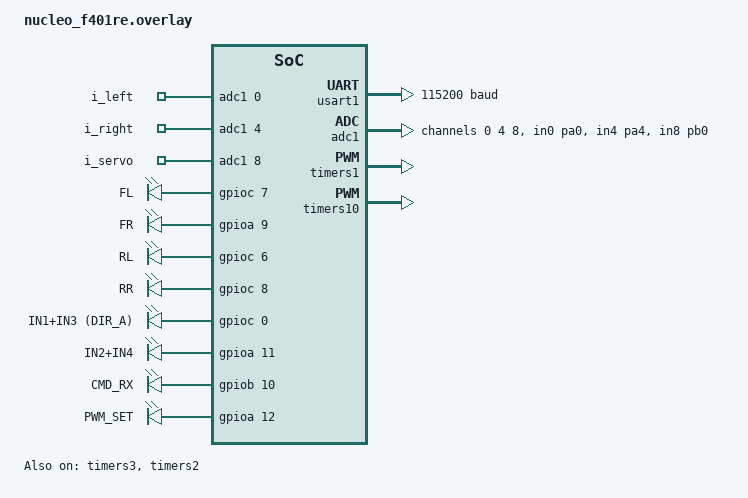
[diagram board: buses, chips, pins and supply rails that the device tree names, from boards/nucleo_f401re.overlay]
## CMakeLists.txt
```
cmake_minimum_required(VERSION 3.20.0)
find_package(Zephyr REQUIRED HINTS $ENV{ZEPHYR_BASE})
project(car_app)

target_sources(app PRIVATE
    src/main.c
    src/link.c
    src/control.c
    src/blinkers.c
    src/current.c
)
```

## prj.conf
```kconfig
# Drivers
CONFIG_GPIO=y
CONFIG_ADC=y
CONFIG_PWM=y
CONFIG_SENSOR=y
CONFIG_SERIAL=y
CONFIG_UART_INTERRUPT_DRIVEN=y

# Floating point: hardware FPU, and save FP registers when a thread
# using floats is preempted by another thread that also uses floats.
CONFIG_FPU=y
CONFIG_FPU_SHARING=y
```

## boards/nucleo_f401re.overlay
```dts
/*
 * car_app - Nucleo-F401RE, full system
 *
 * Link:     USART1  PB6 TX / PB7 RX  (to Pi)
 * Encoders: TIM3 QDEC PB4/PB5,  TIM2 QDEC PA5/PA1
 * Motor:    TIM1_CH3 PA10 -> ENA+ENB (PWM),  PC0 -> IN1+IN3,  PA11 -> IN2+IN4
 * Servo:    TIM10_CH1 PB8, 50 Hz
 * Blinkers: FL PC7, FR PA9, RL PC6, RR PC8
 * Test pts: CMD_RX PB10, PWM_SET PA12
 * Current:  PA0 ADC1_IN0 left motor, PA4 ADC1_IN4 right motor, PB0 ADC1_IN8 servo
 *           (ACS712 outputs through 47k/47k dividers)
 */

#include <zephyr/dt-bindings/adc/adc.h>

/ {
    chosen {
        zephyr,uart-comms = &usart1;
    };

    zephyr,user {
        io-channels = <&adc1 0>, <&adc1 4>, <&adc1 8>;
        io-channel-names = "i_left", "i_right", "i_servo";
    };

    /* All plain GPIO outputs. gpio-leds is used as a generic
     * "named GPIO output" binding; no LED driver is enabled. */
    gpio_outputs {
        compatible = "gpio-leds";

        blinker_fl: blinker_fl { gpios = <&gpioc 7 GPIO_ACTIVE_HIGH>;  label = "FL"; };
        blinker_fr: blinker_fr { gpios = <&gpioa 9 GPIO_ACTIVE_HIGH>;  label = "FR"; };
        blinker_rl: blinker_rl { gpios = <&gpioc 6 GPIO_ACTIVE_HIGH>;  label = "RL"; };
        blinker_rr: blinker_rr { gpios = <&gpioc 8 GPIO_ACTIVE_HIGH>;  label = "RR"; };

        motor_in1:  motor_in1  { gpios = <&gpioc 0 GPIO_ACTIVE_HIGH>;  label = "IN1+IN3 (DIR_A)"; };
        motor_in2:  motor_in2  { gpios = <&gpioa 11 GPIO_ACTIVE_HIGH>; label = "IN2+IN4"; };

        tp_cmd_rx:  tp_cmd_rx  { gpios = <&gpiob 10 GPIO_ACTIVE_HIGH>; label = "CMD_RX"; };
        tp_pwm_set: tp_pwm_set { gpios = <&gpioa 12 GPIO_ACTIVE_HIGH>; label = "PWM_SET"; };
    };

    /* Board LED PWM runs TIM2 on PA5; TIM2 is needed for encoder 2. */
    pwmleds {
        status = "disabled";
    };
};

/* Board defaults that claim pins this app needs */
&spi1  { status = "disabled"; };   /* PA5 */
&i2c1  { status = "disabled"; };   /* PB8 */
&pwm2  { status = "disabled"; };   /* TIM2 */

&usart1 {
    status = "okay";
    current-speed = <115200>;
};

&adc1 {
    #address-cells = <1>;
    #size-cells = <0>;
    pinctrl-0 = <&adc1_in0_pa0 &adc1_in4_pa4 &adc1_in8_pb0>;
    pinctrl-names = "default";
    status = "okay";

    channel@0 {
        reg = <0>;
        zephyr,gain = "ADC_GAIN_1";
        zephyr,reference = "ADC_REF_INTERNAL";
        zephyr,acquisition-time = <ADC_ACQ_TIME_MAX>;
        zephyr,resolution = <12>;
    };

    channel@4 {
        reg = <4>;
        zephyr,gain = "ADC_GAIN_1";
        zephyr,reference = "ADC_REF_INTERNAL";
        zephyr,acquisition-time = <ADC_ACQ_TIME_MAX>;
        zephyr,resolution = <12>;
    };

    channel@8 {
        reg = <8>;
        zephyr,gain = "ADC_GAIN_1";
        zephyr,reference = "ADC_REF_INTERNAL";
        zephyr,acquisition-time = <ADC_ACQ_TIME_MAX>;
        zephyr,resolution = <12>;
    };
};

&timers3 {
    status = "okay";
    qdec: qdec {
        compatible = "st,stm32-qdec";
        status = "okay";
        pinctrl-0 = <&tim3_ch1_pb4 &tim3_ch2_pb5>;
        pinctrl-names = "default";
        st,counts-per-revolution = <660>;
    };
};

&timers2 {
    status = "okay";
    qdec2: qdec2 {
        compatible = "st,stm32-qdec";
        status = "okay";
        pinctrl-0 = <&tim2_ch1_pa5 &tim2_ch2_pa1>;
        pinctrl-names = "default";
        st,counts-per-revolution = <660>;
    };
};

&timers1 {
    status = "okay";
    pwm1: pwm {
        status = "okay";
        pinctrl-0 = <&tim1_ch3_pa10>;
        pinctrl-names = "default";
    };
};

&timers10 {
    status = "okay";
    st,prescaler = <83>;          /* 84 MHz / 84 = 1 MHz tick, 20 ms = 20000 */
    pwm10: pwm {
        status = "okay";
        pinctrl-0 = <&tim10_ch1_pb8>;
        pinctrl-names = "default";
    };
};
```

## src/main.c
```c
/*
 * car_app - Lab 2 integrated firmware (Nucleo-F401RE, Zephyr)
 *
 * Laptop proxy -> UDP -> Pi -> UART (USART1) -> this board -> motors,
 * servo, blinkers. Status heartbeat goes back to the Pi every 20 ms.
 *
 * Modules:
 *   link.c      RX parser ISR, status TX thread
 *   control.c   fault state, brake, PI speed control, servo (control thread)
 *   blinkers.c  turn signals, self-cancel, hazards (blinker thread + timer ISR)
 *   main.c      init, then the low-priority console monitor
 *
 * Priorities, periods and deadlines: see config.h.
 */

#include <zephyr/kernel.h>

#include "config.h"
#include "link.h"
#include "link_proto.h"
#include "control.h"
#include "blinkers.h"
#include "current.h"

static void print_faults(uint8_t f)
{
    if (f == 0) {
        printk("none");
        return;
    }
    if (f & ST_FAULT_POWERUP)  { printk("POWERUP "); }
    if (f & ST_FAULT_LINK)     { printk("LINK "); }
    if (f & ST_FAULT_BADCMD)   { printk("BADCMD "); }
    if (f & ST_FAULT_SELFTEST) { printk("SELFTEST "); }
}

int main(void)
{
    /* Actuators first, so the board is braked and hazards are on
     * before any command can arrive. */
    if (control_init() != 0 || blinkers_init() != 0 || current_init() != 0 ||
        link_init() != 0) {
        printk("ERROR: init failed\n");
        return 0;
    }

    k_thread_priority_set(k_current_get(), PRIO_MONITOR);
    printk("car_app running\n");

    /* Monitor: lowest priority, console only. All printing lives here so
     * it can never delay the time-critical threads. */
    uint8_t last_faults = 0xFF;
    uint8_t last_buttons = 0;
    int64_t next_print = 0;

    while (1) {
        uint8_t faults = control_get_faults();
        int64_t now = k_uptime_get();

        /* Button levels as received from the Pi, so presses are visible */
        struct link_cmd bc;
        link_get_command(&bc);
        uint8_t buttons = bc.flags & (CMD_FLAG_LEFT | CMD_FLAG_RIGHT | CMD_FLAG_TEST);
        if (buttons != last_buttons) {
            printk("[%u ms] buttons: left=%d right=%d test=%d\n", (uint32_t)now,
                   (buttons & CMD_FLAG_LEFT) != 0, (buttons & CMD_FLAG_RIGHT) != 0,
                   (buttons & CMD_FLAG_TEST) != 0);
            last_buttons = buttons;
        }

        if (faults != last_faults) {
            printk("[%u ms] state %s, faults: ", (uint32_t)now,
                   faults ? "ERROR" : "NORMAL");
            print_faults(faults);
            printk("\n");
            last_faults = faults;
        }

        if (now >= next_print) {
            next_print = now + MONITOR_PERIOD_MS;

            struct link_cmd cmd;
            struct control_telemetry t;
            struct current_readings cur;
            link_get_command(&cmd);
            control_get_telemetry(&t);
            current_get(&cur);

            printk("steer=%d thr=%u brk=%u flags=0x%02x | "
                   "target=%d rpm=%d duty=%d%%%s | I=%u/%u/%u mA%s | turn=%s | bad=%u\n",
                   cmd.steer, cmd.thr, cmd.brk, cmd.flags,
                   t.target_x10 / 10, t.rpm_x10 / 10, t.duty_pct,
                   t.braking ? " BRAKE" : "",
                   cur.left_ma, cur.right_ma, cur.servo_ma,
                   current_is_valid() ? "" : " (no zero)",
                   blinkers_turn_name(), link_bad_frames());
        }

        k_msleep(50);
    }

    return 0;
}
```

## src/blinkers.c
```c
/*
 * blinkers.c - turn signals and hazards
 *
 * Two pieces, deliberately separate:
 *   blink output  - periodic k_timer ISR, 250 ms. Only reads the pattern
 *                   and writes pins, so timing is set by the timer, not by
 *                   when a thread gets to run. 1 Hz turn, 2 Hz hazard, 50%.
 *   blinker logic - low-priority thread, 20 ms. Button edges, self-cancel,
 *                   hazard selection. Its 100 ms budget is far looser than
 *                   the control thread's 2 ms, hence the lower priority.
 *
 * Turn signal rules:
 *   - A press on the left or right button (debounced) selects that side;
 *     one side cancels the other; pressing the active side again turns it off.
 *   - Self-cancel: once the wheel turns past TURN_THRESHOLD toward the active
 *     side (armed), returning back past (TURN_THRESHOLD - TURN_HYSTERESIS)
 *     cancels the signal.
 *   - Error state: hazards override the display. The turn state is kept
 *     underneath and reappears when the error clears.
 */

#include <zephyr/kernel.h>
#include <zephyr/drivers/gpio.h>
#include <zephyr/sys/atomic.h>

#include "blinkers.h"
#include "link.h"
#include "link_proto.h"
#include "control.h"
#include "config.h"

static const struct gpio_dt_spec led_fl = GPIO_DT_SPEC_GET(DT_NODELABEL(blinker_fl), gpios);
static const struct gpio_dt_spec led_fr = GPIO_DT_SPEC_GET(DT_NODELABEL(blinker_fr), gpios);
static const struct gpio_dt_spec led_rl = GPIO_DT_SPEC_GET(DT_NODELABEL(blinker_rl), gpios);
static const struct gpio_dt_spec led_rr = GPIO_DT_SPEC_GET(DT_NODELABEL(blinker_rr), gpios);

/* Steering thresholds in wheel units, as fractions of the chassis full lock
 * (STEER_FULL_SCALE in config.h), so they stay sensible if that changes. */
#define TURN_THRESHOLD   (STEER_FULL_SCALE / 4)     /* 25% of full lock */
#define TURN_HYSTERESIS  (STEER_FULL_SCALE / 20)    /* 5% */

/* ------------------------------------------------------------------ */
/* Blink output - timer ISR                                           */
/* ------------------------------------------------------------------ */

enum blink_mode { MODE_OFF, MODE_LEFT, MODE_RIGHT, MODE_HAZARD };

static atomic_t display_mode = ATOMIC_INIT(MODE_OFF);
static uint32_t ticks;

static void apply_outputs(enum blink_mode m, bool on)
{
    bool left  = on && (m == MODE_LEFT  || m == MODE_HAZARD);
    bool right = on && (m == MODE_RIGHT || m == MODE_HAZARD);

    gpio_pin_set_dt(&led_fl, left);
    gpio_pin_set_dt(&led_rl, left);
    gpio_pin_set_dt(&led_fr, right);
    gpio_pin_set_dt(&led_rr, right);
}

static void blink_tick(struct k_timer *t)
{
    ARG_UNUSED(t);
    enum blink_mode m = (enum blink_mode)atomic_get(&display_mode);
    ticks++;
    bool on = (m == MODE_HAZARD) ? ((ticks % 2) == 0) : (((ticks / 2) % 2) == 0);
    apply_outputs(m, on);
}

K_TIMER_DEFINE(blink_timer, blink_tick, NULL);

static void set_display(enum blink_mode m)
{
    if ((enum blink_mode)atomic_get(&display_mode) == m) {
        return;                         /* unchanged: keep the phase */
    }
    k_timer_stop(&blink_timer);
    atomic_set(&display_mode, m);
    ticks = 0;
    if (m == MODE_OFF) {
        apply_outputs(m, false);
    } else {
        apply_outputs(m, true);         /* visible at once, starts "on" */
        k_timer_start(&blink_timer, K_MSEC(BLINK_TICK_MS), K_MSEC(BLINK_TICK_MS));
    }
}

/* ------------------------------------------------------------------ */
/* Blinker logic - thread                                             */
/* ------------------------------------------------------------------ */

enum turn_state { TURN_OFF, TURN_LEFT, TURN_RIGHT };
static const char *const turn_names[] = { "off", "left", "right" };
static atomic_t turn_pub = ATOMIC_INIT(TURN_OFF);

const char *blinkers_turn_name(void)
{
    return turn_names[atomic_get(&turn_pub)];
}

/* Debounced rising-edge detector for a button level */
struct button {
    bool level;
    int64_t change_ms;
};

static bool button_pressed(struct button *b, bool level, int64_t now)
{
    if (level != b->level && (now - b->change_ms) >= BUTTON_DEBOUNCE_MS) {
        b->level = level;
        b->change_ms = now;
        return level;                   /* true only on the press edge */
    }
    return false;
}

K_THREAD_STACK_DEFINE(blinker_stack, STACK_BLINKER);
static struct k_thread blinker_thread_data;

static void blinker_thread(void *a, void *b, void *c)
{
    ARG_UNUSED(a); ARG_UNUSED(b); ARG_UNUSED(c);

    enum turn_state turn = TURN_OFF;
    bool armed = false;
    struct button left_btn  = { .change_ms = -100000 };
    struct button right_btn = { .change_ms = -100000 };

    while (1) {
        int64_t now = k_uptime_get();
        struct link_cmd cmd;
        link_get_command(&cmd);

        if (cmd.valid) {
            /* Button presses */
            if (button_pressed(&left_btn, (cmd.flags & CMD_FLAG_LEFT) != 0, now)) {
                turn = (turn == TURN_LEFT) ? TURN_OFF : TURN_LEFT;
                armed = false;
            }
            if (button_pressed(&right_btn, (cmd.flags & CMD_FLAG_RIGHT) != 0, now)) {
                turn = (turn == TURN_RIGHT) ? TURN_OFF : TURN_RIGHT;
                armed = false;
            }

            /* Self-cancel */
            int32_t s = cmd.steer;
            if (turn == TURN_LEFT) {
                if (!armed && s <= -TURN_THRESHOLD) {
                    armed = true;
                } else if (armed && s > -(TURN_THRESHOLD - TURN_HYSTERESIS)) {
                    turn = TURN_OFF;
                    armed = false;
                }
            } else if (turn == TURN_RIGHT) {
                if (!armed && s >= TURN_THRESHOLD) {
                    armed = true;
                } else if (armed && s < (TURN_THRESHOLD - TURN_HYSTERESIS)) {
                    turn = TURN_OFF;
                    armed = false;
                }
            }
        }
        atomic_set(&turn_pub, turn);

        /* Display: hazards in the error state, otherwise the turn signal */
        if (control_get_state() == ST_STATE_ERROR) {
            set_display(MODE_HAZARD);
        } else if (turn == TURN_LEFT) {
            set_display(MODE_LEFT);
        } else if (turn == TURN_RIGHT) {
            set_display(MODE_RIGHT);
        } else {
            set_display(MODE_OFF);
        }

        k_msleep(BLINKER_PERIOD_MS);
    }
}

/* ------------------------------------------------------------------ */
/* Init                                                               */
/* ------------------------------------------------------------------ */

int blinkers_init(void)
{
    const struct gpio_dt_spec *leds[] = { &led_fl, &led_fr, &led_rl, &led_rr };
    for (int i = 0; i < 4; i++) {
        if (!gpio_is_ready_dt(leds[i])) {
            return -ENODEV;
        }
        gpio_pin_configure_dt(leds[i], GPIO_OUTPUT_INACTIVE);
    }

    set_display(MODE_HAZARD);           /* power-up is the error state */

    k_thread_create(&blinker_thread_data, blinker_stack,
                    K_THREAD_STACK_SIZEOF(blinker_stack),
                    blinker_thread, NULL, NULL, NULL,
                    PRIO_BLINKER, 0, K_NO_WAIT);
    k_thread_name_set(&blinker_thread_data, "blinker");
    return 0;
}
```

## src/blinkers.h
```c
#ifndef BLINKERS_H
#define BLINKERS_H

int blinkers_init(void);        /* starts the blinker logic thread */
const char *blinkers_turn_name(void);

#endif
```

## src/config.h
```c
/*
 * config.h - task priorities, periods, and deadlines in one place.
 *
 * Zephyr: lower number = higher priority. All threads are preemptible,
 * so a higher-priority thread that becomes ready runs immediately.
 *
 *  Task             Kind        Period / trigger          Prio  Deadline
 *  ---------------  ----------  ------------------------  ----  ------------------
 *  UART RX parser   ISR         each received byte        IRQ   one byte time
 *  control          thread      new command OR 20 ms      1     2 ms brake/throttle
 *                                                                50 ms steering
 *  status TX        thread      20 ms, timer-synced       3     20 ms +/- 10%
 *  blinker logic    thread      20 ms                     5     100 ms
 *  blink output     timer ISR   250 ms                    IRQ   pattern edge
 *  current sensors  thread      1 ms (3 ADC channels)     6     100 ms average,
 *                                                                reported every 20 ms
 *  monitor          thread      500 ms                    7     best effort
 */
#ifndef CONFIG_H
#define CONFIG_H

/* ---- Priorities ---- */
#define PRIO_CONTROL   1
#define PRIO_STATUS    3
#define PRIO_BLINKER   5
#define PRIO_CURRENT   6
#define PRIO_MONITOR   7

/* ---- Stack sizes ---- */
#define STACK_CONTROL  2048
#define STACK_STATUS   1024
#define STACK_BLINKER  1024
#define STACK_CURRENT  1536
#define STACK_MONITOR  2048

/* ---- Periods ---- */
#define CONTROL_PERIOD_MS   20
#define STATUS_PERIOD_MS    20
#define BLINKER_PERIOD_MS   20
#define BLINK_TICK_MS       250     /* half-period of the 2 Hz hazard */
#define MONITOR_PERIOD_MS   500

/* ---- Link / fault handling ---- */
#define FAIL_SAFE_MS        60      /* 3 missed 20 ms frames */
#define BYTE_TIMEOUT_MS     5       /* gap inside a frame = truncated */
#define BADCMD_HOLD_MS      500     /* error lasts this long after a bad frame */

/* ---- Buttons (levels arrive in each command frame) ---- */
#define BUTTON_DEBOUNCE_MS  50      /* ignore level changes closer than this */
#define DOUBLE_PRESS_MS     800     /* two presses within this = double press */

/* ---- Steering ----
 * Raw wheel value (steer units) at which the chassis reaches full lock.
 * The raw range is +/-32767 over the wheel's whole rotation (~900 deg
 * lock to lock on the G923 at its default setting), so full scale at
 * 8192 means about +/-112 deg of wheel rotation reaches full chassis lock.
 * Beyond that the servo holds at its limit. Adjust to taste: smaller
 * = quicker steering. Blinker thresholds scale with this. */
#define STEER_FULL_SCALE    8192

#endif /* CONFIG_H */
```

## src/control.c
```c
/*
 * control.c - safety state, drive motors, and steering servo
 *
 * One high-priority thread owns every actuator. It wakes either when the
 * RX ISR delivers a new command (for the 2 ms response) or every 20 ms
 * (to measure speed, integrate the PI loop, and detect link loss).
 *
 * Each wake, in order:
 *   1. faults: power-up, link loss, bad frames, self-test button
 *   2. if any fault  -> fail-safe: motor braked, steering centered
 *   3. else brake pedal -> dynamic brake (checked before throttle, always wins)
 *   4. else throttle -> PI speed control
 *   5. steering servo
 *
 * L298N drive (PWM on EN, IN pins select the state):
 *   EN(PA10)  IN1(PC0)  IN2(PA11)   State
 *   PWM(d)    1         0           Forward, speed d (off-time coasts)
 *   100%      0         0           Dynamic brake, PWM disabled
 *   0%        x         x           Coast
 * The command link has no reverse field, so the car drives forward only.
 */

#include <zephyr/kernel.h>
#include <zephyr/device.h>
#include <zephyr/drivers/sensor.h>
#include <zephyr/drivers/pwm.h>
#include <zephyr/drivers/gpio.h>
#include <zephyr/sys/atomic.h>

#include "control.h"
#include "link.h"
#include "link_proto.h"
#include "config.h"

/* ------------------------------------------------------------------ */
/* Hardware                                                           */
/* ------------------------------------------------------------------ */

static const struct device *qdec1_dev = DEVICE_DT_GET(DT_NODELABEL(qdec));
static const struct device *qdec2_dev = DEVICE_DT_GET(DT_NODELABEL(qdec2));
static const struct device *motor_pwm = DEVICE_DT_GET(DT_NODELABEL(pwm1));
static const struct device *servo_pwm = DEVICE_DT_GET(DT_NODELABEL(pwm10));

static const struct gpio_dt_spec in1 = GPIO_DT_SPEC_GET(DT_NODELABEL(motor_in1), gpios);
static const struct gpio_dt_spec in2 = GPIO_DT_SPEC_GET(DT_NODELABEL(motor_in2), gpios);
static const struct gpio_dt_spec tp_pwm_set = GPIO_DT_SPEC_GET(DT_NODELABEL(tp_pwm_set), gpios);

#define MOTOR_PWM_CHANNEL   3       /* TIM1_CH3, PA10 */
#define MOTOR_PERIOD_CYCLES 4200    /* 84 MHz / 4200 = 20 kHz */
#define SERVO_PWM_CHANNEL   1       /* TIM10_CH1, PB8 */

/* ------------------------------------------------------------------ */
/* Tuning and calibration                                             */
/* ------------------------------------------------------------------ */

/* Encoders */
#define COUNTS_PER_WHEEL_REV  660
#define ENC1_SIGN             (1)
#define ENC2_SIGN             (-1)
#define RPM_FILTER_ALPHA      0.3f

/* Throttle and brake (pedal units 0..255) */
#define MAX_TARGET_RPM     200.0f   /* full throttle; set to ~85% of measured top speed */
#define THROTTLE_DEADBAND  5        /* pedal noise at rest */
#define BRAKE_THRESHOLD    25       /* above this, brake */

/* PI */
#define MAX_DUTY     0.95f          /* near full; keep stall tests brief (L298N ~2 A/ch) */
#define KP           0.010f
#define KI           0.050f
#define INTEG_LIMIT  0.8f
#define DT_S         (CONTROL_PERIOD_MS / 1000.0f)

/* Servo, in servo-shaft degrees (pulse us = 500 + deg * 2000 / 180).
 * +/-60 deg (about 830-2170 us) buzzed at both ends, so the range is pulled in
 * to +/-45 deg = 1000-2000 us, the DD-05 servo pulse mapping.
 * If it still buzzes at an end, move that end 5 deg toward center; if there is
 * slack at an end, widen it in 5 deg steps. */
#define SERVO_LEFT_DEG     45.0f
#define SERVO_CENTER_DEG   90.0f
#define SERVO_RIGHT_DEG    135.0f
#define SERVO_LO_DEG (SERVO_LEFT_DEG < SERVO_RIGHT_DEG ? SERVO_LEFT_DEG : SERVO_RIGHT_DEG)
#define SERVO_HI_DEG (SERVO_LEFT_DEG < SERVO_RIGHT_DEG ? SERVO_RIGHT_DEG : SERVO_LEFT_DEG)

/* ------------------------------------------------------------------ */
/* Published state (written here, read by other threads)              */
/* ------------------------------------------------------------------ */

static atomic_t faults_pub  = ATOMIC_INIT(ST_FAULT_POWERUP);
static atomic_t rpm_x10_pub;
static atomic_t target_x10_pub;
static atomic_t duty_pct_pub;
static atomic_t braking_pub;

uint8_t control_get_faults(void)
{
    return (uint8_t)atomic_get(&faults_pub);
}

uint8_t control_get_state(void)
{
    return control_get_faults() ? ST_STATE_ERROR : ST_STATE_NORMAL;
}

void control_get_telemetry(struct control_telemetry *out)
{
    out->rpm_x10    = (int)atomic_get(&rpm_x10_pub);
    out->target_x10 = (int)atomic_get(&target_x10_pub);
    out->duty_pct   = (int)atomic_get(&duty_pct_pub);
    out->braking    = (int)atomic_get(&braking_pub);
}

/* ------------------------------------------------------------------ */
/* Helpers                                                            */
/* ------------------------------------------------------------------ */

static float clampf(float x, float lo, float hi)
{
    return x < lo ? lo : (x > hi ? hi : x);
}

static int32_t count_delta(uint32_t now, uint32_t prev)
{
    /* Low 16 bits are correct for a 16- or 32-bit counter */
    return (int16_t)(uint16_t)(now - prev);
}

static uint32_t read_count(const struct device *dev)
{
    struct sensor_value v;
    sensor_sample_fetch(dev);
    sensor_channel_get(dev, SENSOR_CHAN_ENCODER_COUNT, &v);
    return (uint32_t)v.val1;
}

static float counts_to_rpm(int32_t delta)
{
    return (delta * 60000.0f) / (COUNTS_PER_WHEEL_REV * CONTROL_PERIOD_MS);
}

/* Documented, monotonic: 0..DEADBAND -> 0, then linear to MAX_TARGET_RPM at 255 */
static float throttle_to_target_rpm(uint8_t thr)
{
    if (thr <= THROTTLE_DEADBAND) {
        return 0.0f;
    }
    return ((thr - THROTTLE_DEADBAND) / (255.0f - THROTTLE_DEADBAND)) * MAX_TARGET_RPM;
}

/* Documented, monotonic: piecewise linear through left / center / right.
 * steer = +/-STEER_FULL_SCALE reaches full lock; beyond that it saturates. */
static float steer_to_servo_deg(int16_t steer)
{
    float x = clampf(steer / (float)STEER_FULL_SCALE, -1.0f, 1.0f);

    if (x >= 0.0f) {
        return SERVO_CENTER_DEG + x * (SERVO_RIGHT_DEG - SERVO_CENTER_DEG);
    }
    return SERVO_CENTER_DEG + (-x) * (SERVO_LEFT_DEG - SERVO_CENTER_DEG);
}

/* ------------------------------------------------------------------ */
/* Actuators                                                          */
/* ------------------------------------------------------------------ */

static void set_en_duty(float d)
{
    d = clampf(d, 0.0f, 1.0f);
    pwm_set_cycles(motor_pwm, MOTOR_PWM_CHANNEL, MOTOR_PERIOD_CYCLES,
                   (uint32_t)(d * MOTOR_PERIOD_CYCLES), 0);
    gpio_pin_toggle_dt(&tp_pwm_set);    /* PWM_SET: right after the timer write */
    atomic_set(&duty_pct_pub, (atomic_val_t)(d * 100.0f));
}

static void motor_forward(float duty)
{
    gpio_pin_set_dt(&in1, 1);
    gpio_pin_set_dt(&in2, 0);
    set_en_duty(clampf(duty, 0.0f, MAX_DUTY));
    atomic_set(&braking_pub, 0);
}

static void motor_brake(void)
{
    gpio_pin_set_dt(&in1, 0);           /* DIR_A edge */
    gpio_pin_set_dt(&in2, 0);
    set_en_duty(1.0f);                  /* EN held high, no modulation */
    atomic_set(&braking_pub, 1);
}

static void servo_write_deg(float deg)
{
    deg = clampf(deg, SERVO_LO_DEG, SERVO_HI_DEG);
    float us = 500.0f + deg * (2000.0f / 180.0f);
    pwm_set(servo_pwm, SERVO_PWM_CHANNEL, PWM_USEC(20000),
            PWM_USEC((uint32_t)(us + 0.5f)), 0);
}

/* ------------------------------------------------------------------ */
/* PI controller                                                      */
/* ------------------------------------------------------------------ */

static float integ;

/* Integrates only on the 20 ms tick, so extra wakes from commands give an
 * immediate proportional response without changing the loop's timing. */
static float pi_update(float target, float measured, bool integrate)
{
    if (target <= 0.0f) {
        integ = 0.0f;
        return 0.0f;
    }

    float err = target - measured;
    float u_unsat = KP * err + integ;
    float u = clampf(u_unsat, 0.0f, MAX_DUTY);

    if (integrate) {
        bool windup = (u_unsat > MAX_DUTY && err > 0.0f) ||
                      (u_unsat < 0.0f && err < 0.0f);
        if (!windup) {
            integ = clampf(integ + KI * err * DT_S, -INTEG_LIMIT, INTEG_LIMIT);
        }
    }
    return u;
}

/* ------------------------------------------------------------------ */
/* Fault / error state                                                */
/* ------------------------------------------------------------------ */

static uint8_t update_faults(const struct link_cmd *cmd, int64_t now)
{
    static bool    have_seq;
    static uint8_t last_seq;

    static bool    test_level;
    static int64_t test_change_ms = -100000;
    static int64_t last_press_ms  = -100000;
    static bool    selftest;

    static uint32_t last_bad;
    static int64_t  badcmd_until;

    uint8_t faults = 0;

    /* Power-up: error until the first valid command. Link loss after that. */
    if (!cmd->valid) {
        faults |= ST_FAULT_POWERUP;
    } else if ((now - cmd->rx_ms) > FAIL_SAFE_MS) {
        faults |= ST_FAULT_LINK;
    }

    /* Any rejected frame holds the error state for BADCMD_HOLD_MS */
    uint32_t bad = link_bad_frames();
    if (bad != last_bad) {
        last_bad = bad;
        badcmd_until = now + BADCMD_HOLD_MS;
    }
    if (now < badcmd_until) {
        faults |= ST_FAULT_BADCMD;
    }

    /* Self-test button: level in each new frame, debounced here.
     * Single press enters self-test immediately; a double press leaves it. */
    bool new_frame = cmd->valid && (!have_seq || cmd->seq != last_seq);
    if (new_frame) {
        have_seq = true;
        last_seq = cmd->seq;

        bool level = (cmd->flags & CMD_FLAG_TEST) != 0;
        if (level != test_level && (now - test_change_ms) >= BUTTON_DEBOUNCE_MS) {
            test_level = level;
            test_change_ms = now;
            if (level) {                            /* press */
                if (!selftest) {
                    selftest = true;
                } else if ((now - last_press_ms) <= DOUBLE_PRESS_MS) {
                    selftest = false;
                }
                last_press_ms = now;
            }
        }
    }
    if (selftest) {
        faults |= ST_FAULT_SELFTEST;
    }

    return faults;
}

/* ------------------------------------------------------------------ */
/* Control thread                                                     */
/* ------------------------------------------------------------------ */

K_THREAD_STACK_DEFINE(control_stack, STACK_CONTROL);
static struct k_thread control_thread_data;

static void control_thread(void *a, void *b, void *c)
{
    ARG_UNUSED(a); ARG_UNUSED(b); ARG_UNUSED(c);

    uint32_t prev1 = read_count(qdec1_dev);
    uint32_t prev2 = read_count(qdec2_dev);
    float rpm_filt = 0.0f;

    int64_t next_tick = k_uptime_get() + CONTROL_PERIOD_MS;

    while (1) {
        /* Sleep until the next tick, or wake early on a new command */
        int64_t now = k_uptime_get();
        if (next_tick > now) {
            k_sem_take(&link_cmd_sem, K_MSEC((int32_t)(next_tick - now)));
            now = k_uptime_get();
        }

        bool tick = false;
        if (now >= next_tick) {
            tick = true;
            next_tick += CONTROL_PERIOD_MS;
            if (next_tick <= now) {
                next_tick = now + CONTROL_PERIOD_MS;   /* fell behind: resync */
            }
        }

        /* Measure speed on ticks only (the formula assumes a fixed period) */
        if (tick) {
            uint32_t n1 = read_count(qdec1_dev);
            uint32_t n2 = read_count(qdec2_dev);
            int32_t d1 = ENC1_SIGN * count_delta(n1, prev1);
            int32_t d2 = ENC2_SIGN * count_delta(n2, prev2);
            prev1 = n1;
            prev2 = n2;

            float rpm_avg = 0.5f * (counts_to_rpm(d1) + counts_to_rpm(d2));
            rpm_filt += RPM_FILTER_ALPHA * (rpm_avg - rpm_filt);
            atomic_set(&rpm_x10_pub, (atomic_val_t)(rpm_filt * 10.0f));
        }

        struct link_cmd cmd;
        link_get_command(&cmd);

        uint8_t faults = update_faults(&cmd, now);
        atomic_set(&faults_pub, faults);

        if (faults != 0) {
            /* Fail-safe: braked, steering centered */
            integ = 0.0f;
            motor_brake();
            servo_write_deg(SERVO_CENTER_DEG);
            atomic_set(&target_x10_pub, 0);
            continue;
        }

        /* Brake first: it wins over throttle under all circumstances */
        if (cmd.brk > BRAKE_THRESHOLD) {
            integ = 0.0f;
            motor_brake();
            atomic_set(&target_x10_pub, 0);
        } else {
            float target = throttle_to_target_rpm(cmd.thr);
            atomic_set(&target_x10_pub, (atomic_val_t)(target * 10.0f));
            motor_forward(pi_update(target, rpm_filt, tick));
        }

        /* Steering after the time-critical drive outputs */
        servo_write_deg(steer_to_servo_deg(cmd.steer));
    }
}

/* ------------------------------------------------------------------ */
/* Init                                                               */
/* ------------------------------------------------------------------ */

int control_init(void)
{
    if (!device_is_ready(qdec1_dev) || !device_is_ready(qdec2_dev) ||
        !device_is_ready(motor_pwm) || !device_is_ready(servo_pwm) ||
        !gpio_is_ready_dt(&in1) || !gpio_is_ready_dt(&in2) ||
        !gpio_is_ready_dt(&tp_pwm_set)) {
        return -ENODEV;
    }

    gpio_pin_configure_dt(&in1, GPIO_OUTPUT_INACTIVE);
    gpio_pin_configure_dt(&in2, GPIO_OUTPUT_INACTIVE);
    gpio_pin_configure_dt(&tp_pwm_set, GPIO_OUTPUT_INACTIVE);

    /* Power-up is the error state: braked, centered */
    motor_brake();
    servo_write_deg(SERVO_CENTER_DEG);

    k_thread_create(&control_thread_data, control_stack,
                    K_THREAD_STACK_SIZEOF(control_stack),
                    control_thread, NULL, NULL, NULL,
                    PRIO_CONTROL, 0, K_NO_WAIT);
    k_thread_name_set(&control_thread_data, "control");
    return 0;
}
```

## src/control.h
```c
#ifndef CONTROL_H
#define CONTROL_H

#include <stdint.h>

struct control_telemetry {
    int rpm_x10;        /* averaged, filtered wheel speed */
    int target_x10;     /* commanded wheel speed */
    int duty_pct;       /* motor EN duty */
    int braking;        /* 1 while dynamic braking */
};

int control_init(void);                 /* starts the control thread */
uint8_t control_get_state(void);        /* ST_STATE_NORMAL / ST_STATE_ERROR */
uint8_t control_get_faults(void);       /* ST_FAULT_* bits */
void control_get_telemetry(struct control_telemetry *out);

#endif
```

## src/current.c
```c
/*
 * current.c - ACS712-05B current sensors (left motor, right motor, servo)
 *
 * One low-priority thread samples the three ADC channels every 1 ms, removes
 * each sensor's zero-current offset, and keeps an exponential moving average
 * (time constant about 100 ms) of the current. The averaged magnitude in mA is
 * published with atomics for the status frame and the monitor.
 *
 * Wiring (see docs/lab2_status_report.md):
 *   PA0 (ADC1_IN0) left motor, PA4 (ADC1_IN4) right motor, PB0 (ADC1_IN8) servo.
 *   Each ACS712 OUT goes through a 47k/47k divider to the pin, so the sensor
 *   voltage is the pin voltage times CURRENT_DIVIDER.
 *
 * Zero: measured once at boot, averaged over ZERO_SAMPLES. Must happen with
 * the sensors powered and the motors idle. If the result is out of range the
 * sensor rail is probably not up yet, so it retries every second and reports
 * 0 mA until a sane zero is found.
 *
 * Only the magnitude is reported, so the direction the current flows through
 * a sensor does not matter.
 *
 * The thread only reads the ADC and updates atomics; it never blocks anything
 * else, and all printing stays in the monitor.
 */

#include <zephyr/kernel.h>
#include <zephyr/device.h>
#include <zephyr/drivers/adc.h>
#include <zephyr/sys/atomic.h>

#include "current.h"
#include "config.h"

#define USER_NODE DT_PATH(zephyr_user)

static const struct adc_dt_spec adc_chans[] = {
    ADC_DT_SPEC_GET_BY_NAME(USER_NODE, i_left),
    ADC_DT_SPEC_GET_BY_NAME(USER_NODE, i_right),
    ADC_DT_SPEC_GET_BY_NAME(USER_NODE, i_servo),
};
#define NUM_CH ARRAY_SIZE(adc_chans)

/* ---- Sensor and divider constants ---- */
#define ADC_VREF_MV        3300.0f      /* VREF+ = VDDA = 3.3 V on the Nucleo */
#define ADC_FULL           4096.0f      /* 12 bit */
#define CURRENT_DIVIDER    2.0f         /* (47k + 47k) / 47k */
#define SENSOR_MV_PER_A    185.0f       /* ACS712-05B */

/* ---- Timing and filtering ---- */
#define SAMPLE_PERIOD_US   1000         /* 1 kHz per channel */
#define FILTER_ALPHA       0.01f        /* tau = 1 ms * (1 - a) / a, about 99 ms */
#define ZERO_SETTLE_MS     300          /* let rails and outputs settle at boot */
#define ZERO_SAMPLES       500
#define ZERO_RETRY_MS      1000
#define ZERO_MIN_MV        2000.0f      /* sane zero-current range at the sensor */
#define ZERO_MAX_MV        3000.0f

static float zero_mv[NUM_CH];
static float filt_ma[NUM_CH];

static atomic_t pub_ma[NUM_CH];
static atomic_t zero_valid;

void current_get(struct current_readings *out)
{
    out->left_ma  = (uint16_t)atomic_get(&pub_ma[0]);
    out->right_ma = (uint16_t)atomic_get(&pub_ma[1]);
    out->servo_ma = (uint16_t)atomic_get(&pub_ma[2]);
}

bool current_is_valid(void)
{
    return atomic_get(&zero_valid) != 0;
}

static int read_raw(int ch, int16_t *raw)
{
    struct adc_sequence seq = {
        .buffer = raw,
        .buffer_size = sizeof(*raw),
    };

    adc_sequence_init_dt(&adc_chans[ch], &seq);
    return adc_read_dt(&adc_chans[ch], &seq);
}

/* Millivolts at the sensor output (before the divider). */
static float raw_to_sensor_mv(int16_t raw)
{
    return raw * (ADC_VREF_MV / ADC_FULL) * CURRENT_DIVIDER;
}

/* Average the sensors with everything idle. True if all three look sane. */
static bool calibrate_zero(void)
{
    float sum[NUM_CH] = { 0 };

    k_msleep(ZERO_SETTLE_MS);

    for (int n = 0; n < ZERO_SAMPLES; n++) {
        for (int i = 0; i < NUM_CH; i++) {
            int16_t raw = 0;
            if (read_raw(i, &raw) < 0) {
                return false;
            }
            sum[i] += raw_to_sensor_mv(raw);
        }
        k_usleep(SAMPLE_PERIOD_US);
    }

    for (int i = 0; i < NUM_CH; i++) {
        float z = sum[i] / ZERO_SAMPLES;
        if (z < ZERO_MIN_MV || z > ZERO_MAX_MV) {
            return false;
        }
        zero_mv[i] = z;
    }
    return true;
}

K_THREAD_STACK_DEFINE(current_stack, STACK_CURRENT);
static struct k_thread current_thread_data;

static void current_thread(void *a, void *b, void *c)
{
    ARG_UNUSED(a); ARG_UNUSED(b); ARG_UNUSED(c);

    /* Retry until the sensors give a sane zero (rail may not be up yet) */
    while (!calibrate_zero()) {
        k_msleep(ZERO_RETRY_MS);
    }
    atomic_set(&zero_valid, 1);

    struct k_timer tick;
    k_timer_init(&tick, NULL, NULL);
    k_timer_start(&tick, K_USEC(SAMPLE_PERIOD_US), K_USEC(SAMPLE_PERIOD_US));

    while (1) {
        /* Expiries are scheduled from the previous one, so no drift */
        k_timer_status_sync(&tick);

        for (int i = 0; i < NUM_CH; i++) {
            int16_t raw = 0;
            if (read_raw(i, &raw) < 0) {
                continue;
            }
            float ma = (raw_to_sensor_mv(raw) - zero_mv[i]) * 1000.0f / SENSOR_MV_PER_A;
            filt_ma[i] += FILTER_ALPHA * (ma - filt_ma[i]);

            float mag = filt_ma[i] < 0.0f ? -filt_ma[i] : filt_ma[i];
            if (mag > 65535.0f) {
                mag = 65535.0f;
            }
            atomic_set(&pub_ma[i], (atomic_val_t)(mag + 0.5f));
        }
    }
}

int current_init(void)
{
    for (int i = 0; i < NUM_CH; i++) {
        if (!adc_is_ready_dt(&adc_chans[i]) ||
            adc_channel_setup_dt(&adc_chans[i]) < 0) {
            return -ENODEV;
        }
    }

    k_thread_create(&current_thread_data, current_stack,
                    K_THREAD_STACK_SIZEOF(current_stack),
                    current_thread, NULL, NULL, NULL,
                    PRIO_CURRENT, 0, K_NO_WAIT);
    k_thread_name_set(&current_thread_data, "current");
    return 0;
}
```

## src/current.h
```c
#ifndef CURRENT_H
#define CURRENT_H

#include <stdbool.h>
#include <stdint.h>

/* Averaged current magnitudes in mA, for the status frame. */
struct current_readings {
    uint16_t left_ma;
    uint16_t right_ma;
    uint16_t servo_ma;
};

int current_init(void);                         /* starts the sampling thread */
void current_get(struct current_readings *out); /* latest averaged values */
bool current_is_valid(void);                    /* boot zero found in range */

#endif
```

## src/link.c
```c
/*
 * link.c - Pi <-> STM32 serial link
 *
 * RX: interrupt-driven byte parser (ISR context). Valid commands are stored
 *     under a spinlock, the CMD_RX test point toggles, and the control thread
 *     is woken through a semaphore so it can act within the 2 ms budget.
 * TX: status heartbeat thread, one frame every 20 ms, synced to a k_timer so
 *     the period does not drift.
 */

#include <zephyr/kernel.h>
#include <zephyr/device.h>
#include <zephyr/drivers/uart.h>
#include <zephyr/drivers/gpio.h>
#include <zephyr/sys/atomic.h>
#include <zephyr/spinlock.h>

#include "link.h"
#include "link_proto.h"
#include "control.h"
#include "current.h"
#include "config.h"

static const struct device *uart_dev = DEVICE_DT_GET(DT_CHOSEN(zephyr_uart_comms));
static const struct gpio_dt_spec tp_cmd_rx = GPIO_DT_SPEC_GET(DT_NODELABEL(tp_cmd_rx), gpios);

K_SEM_DEFINE(link_cmd_sem, 0, 1);

/* ------------------------------------------------------------------ */
/* Shared state: written by the RX ISR, read by threads                */
/* ------------------------------------------------------------------ */

/* A spinlock is Zephyr's primitive for data shared between an ISR and
 * threads: it masks interrupts while held, so a reader can never see a
 * half-updated struct. volatile would not give that guarantee. */
static struct k_spinlock cmd_lock;
static struct link_cmd latest;

static atomic_t bad_frames = ATOMIC_INIT(0);

/* ------------------------------------------------------------------ */
/* RX parser - ISR context. No printing, no blocking.                 */
/* ------------------------------------------------------------------ */

enum rx_state { WAIT_SYNC0, WAIT_SYNC1, READ_BODY };

static enum rx_state rx_state = WAIT_SYNC0;
static uint8_t body[CMD_LEN - 2];       /* type .. crc, 8 bytes */
static uint8_t body_idx;
static int64_t last_byte_ms;

static void handle_frame(const uint8_t *b)
{
    /* b[0]=type b[1]=seq b[2..3]=steer b[4]=thr b[5]=brk b[6]=flags b[7]=crc */
    if (b[0] != CMD_TYPE ||
        link_crc8(b, 7) != b[7] ||
        (b[6] & CMD_FLAG_RESERVED_MASK) != 0) {
        atomic_inc(&bad_frames);
        return;
    }

    k_spinlock_key_t key = k_spin_lock(&cmd_lock);
    latest.valid = true;
    latest.seq   = b[1];
    latest.steer = (int16_t)(b[2] | (b[3] << 8));
    latest.thr   = b[4];
    latest.brk   = b[5];
    latest.flags = b[6];
    latest.rx_ms = k_uptime_get();
    k_spin_unlock(&cmd_lock, key);

    gpio_pin_toggle_dt(&tp_cmd_rx);     /* CMD_RX test point */
    k_sem_give(&link_cmd_sem);          /* wake the control thread now */
}

static void feed_byte(uint8_t byte, int64_t now)
{
    /* A long gap in the middle of a frame means it was truncated. */
    if (rx_state == READ_BODY && (now - last_byte_ms) > BYTE_TIMEOUT_MS) {
        atomic_inc(&bad_frames);
        rx_state = WAIT_SYNC0;
    }
    last_byte_ms = now;

    switch (rx_state) {
    case WAIT_SYNC0:
        if (byte == LINK_SYNC0) {
            rx_state = WAIT_SYNC1;
        }
        break;

    case WAIT_SYNC1:
        if (byte == LINK_SYNC1) {
            rx_state = READ_BODY;
            body_idx = 0;
        } else if (byte != LINK_SYNC0) {
            rx_state = WAIT_SYNC0;      /* 0xAA again: stay, it may be the real start */
        }
        break;

    case READ_BODY:
        body[body_idx++] = byte;
        if (body_idx >= sizeof(body)) {
            handle_frame(body);
            rx_state = WAIT_SYNC0;
        }
        break;
    }
}

static void uart_isr(const struct device *dev, void *user_data)
{
    ARG_UNUSED(user_data);

    uart_irq_update(dev);
    if (!uart_irq_rx_ready(dev)) {
        return;
    }

    uint8_t byte;
    while (uart_fifo_read(dev, &byte, 1) == 1) {
        feed_byte(byte, k_uptime_get());
    }
}

/* ------------------------------------------------------------------ */
/* Accessors - thread context                                         */
/* ------------------------------------------------------------------ */

void link_get_command(struct link_cmd *out)
{
    k_spinlock_key_t key = k_spin_lock(&cmd_lock);
    *out = latest;
    k_spin_unlock(&cmd_lock, key);
}

uint32_t link_bad_frames(void)
{
    return (uint32_t)atomic_get(&bad_frames);
}

/* ------------------------------------------------------------------ */
/* Status heartbeat thread                                            */
/* ------------------------------------------------------------------ */

K_TIMER_DEFINE(status_timer, NULL, NULL);
K_THREAD_STACK_DEFINE(status_stack, STACK_STATUS);
static struct k_thread status_thread_data;

static void status_thread(void *a, void *b, void *c)
{
    ARG_UNUSED(a); ARG_UNUSED(b); ARG_UNUSED(c);

    uint8_t seq = 0;
    k_timer_start(&status_timer, K_MSEC(STATUS_PERIOD_MS), K_MSEC(STATUS_PERIOD_MS));

    while (1) {
        /* Blocks until the next expiry. Expiries are scheduled from the
         * previous one, so the 20 ms period does not drift. */
        k_timer_status_sync(&status_timer);

        uint8_t f[STATUS_LEN];
        struct current_readings cur;
        current_get(&cur);                               /* averaged mA, 0 until zeroed */
        uint16_t i_left = cur.left_ma, i_right = cur.right_ma, i_servo = cur.servo_ma;

        f[0]  = LINK_SYNC0;
        f[1]  = LINK_SYNC1;
        f[2]  = STATUS_TYPE;
        f[3]  = seq++;
        f[4]  = control_get_state();
        f[5]  = control_get_faults();
        f[6]  = (uint8_t)(i_left & 0xFF);
        f[7]  = (uint8_t)(i_left >> 8);
        f[8]  = (uint8_t)(i_right & 0xFF);
        f[9]  = (uint8_t)(i_right >> 8);
        f[10] = (uint8_t)(i_servo & 0xFF);
        f[11] = (uint8_t)(i_servo >> 8);
        f[12] = link_crc8(&f[2], 10);

        /* Polled TX: ~1.1 ms for 13 bytes. Runs in this thread, so the
         * higher-priority control thread can still preempt it. */
        for (int i = 0; i < STATUS_LEN; i++) {
            uart_poll_out(uart_dev, f[i]);
        }
    }
}

/* ------------------------------------------------------------------ */
/* Init                                                               */
/* ------------------------------------------------------------------ */

int link_init(void)
{
    if (!device_is_ready(uart_dev) || !gpio_is_ready_dt(&tp_cmd_rx)) {
        return -ENODEV;
    }
    gpio_pin_configure_dt(&tp_cmd_rx, GPIO_OUTPUT_INACTIVE);

    uart_irq_callback_user_data_set(uart_dev, uart_isr, NULL);
    uart_irq_rx_enable(uart_dev);

    k_thread_create(&status_thread_data, status_stack,
                    K_THREAD_STACK_SIZEOF(status_stack),
                    status_thread, NULL, NULL, NULL,
                    PRIO_STATUS, 0, K_NO_WAIT);
    k_thread_name_set(&status_thread_data, "status");
    return 0;
}
```

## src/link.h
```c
#ifndef LINK_H
#define LINK_H

#include <stdbool.h>
#include <stdint.h>
#include <zephyr/kernel.h>

/* Latest valid command from the Pi. */
struct link_cmd {
    bool     valid;     /* at least one valid frame received since boot */
    uint8_t  seq;
    int16_t  steer;     /* -32768 full left .. 32767 full right */
    uint8_t  thr;       /* 0 released .. 255 full */
    uint8_t  brk;       /* 0 released .. 255 full */
    uint8_t  flags;     /* CMD_FLAG_* levels */
    int64_t  rx_ms;     /* uptime when it arrived */
};

/* Given by the RX ISR on every valid command; the control thread waits on it. */
extern struct k_sem link_cmd_sem;

int link_init(void);                        /* also starts the status thread */
void link_get_command(struct link_cmd *out); /* consistent snapshot */
uint32_t link_bad_frames(void);             /* total rejected frames since boot */

#endif
```

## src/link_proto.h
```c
/*
 * link_proto.h - Pi <-> STM32 UART link protocol (18-649 Lab 2, Team 2)
 *
 * Shared by the Pi bridge (bridge.c) and the STM32 firmware.
 * Copy this file into the Zephyr app UNCHANGED so both sides agree.
 *
 * UART: 115200 baud, 8N1, no flow control. Multi-byte fields little-endian.
 *
 * ---------------------------------------------------------------------------
 * COMMAND  Pi -> STM32   (10 bytes, ~0.87 ms on the wire)
 *   [0]     0xAA   sync0
 *   [1]     0x55   sync1
 *   [2]     0x01   type (CMD_TYPE)
 *   [3]     seq    uint8, +1 every frame, wraps 255 -> 0
 *   [4..5]  steer  int16   raw wheel lX: -32768 full left, 0 center, 32767 full right
 *   [6]     thr    uint8   0 released .. 255 fully pressed
 *   [7]     brk    uint8   0 released .. 255 fully pressed
 *   [8]     flags  bit0 left-blinker button held
 *                  bit1 right-blinker button held
 *                  bit2 self-test button held
 *                  bits3-7 reserved, MUST be 0
 *   [9]     CRC-8 over bytes [2..8]
 *
 *   Buttons are sent as raw LEVELS (held / not held). The STM32 does the
 *   edge detection, debounce, blinker and self-test state machines.
 *
 *   Timing: sent on every UDP wheel update, and re-sent every 20 ms when no
 *   new update arrives, so frames are never more than ~20 ms apart.
 *   If the proxy goes quiet for 100 ms the Pi STOPS sending, so the STM32
 *   sees link loss and fails safe (same as unplugging the cable).
 *   Suggested STM32 timeout: 3 missed frames x 20 ms = 60 ms
 *   (meets the 150 ms spec and the 100 ms checkoff).
 *
 * ---------------------------------------------------------------------------
 * STATUS   STM32 -> Pi   (13 bytes, every 20 ms +/-10%) = heartbeat
 *   [0]      0xAA  sync0
 *   [1]      0x55  sync1
 *   [2]      0x81  type (STATUS_TYPE)
 *   [3]      seq   uint8, +1 every frame, wraps
 *   [4]      state 0 = ERROR, 1 = NORMAL
 *   [5]      faults bit0 link lost
 *                   bit1 self-test failed
 *                   bit2 bad / out-of-range command received
 *                   bit3 power-up (no valid command yet)
 *                   bits4-7 reserved 0
 *   [6..7]   I_motor_left   uint16 mA
 *   [8..9]   I_motor_right  uint16 mA
 *   [10..11] I_servo        uint16 mA
 *   [12]     CRC-8 over bytes [2..11]
 *
 * ---------------------------------------------------------------------------
 * RECEIVER RULES (both directions)
 *   - Hunt for 0xAA 0x55 to (re)sync. A receiver that joins mid-stream or
 *     drops a byte resyncs on the next header.
 *   - Reject the frame if the type is wrong, the CRC is wrong, or a reserved
 *     bit is set. A truncated frame fails its CRC.
 *   - STM32: a rejected command counts as a bad/out-of-range command -> error state (R3).
 *
 * CRC-8: poly 0x07, init 0x00, no reflection, no final XOR (CRC-8/SMBUS).
 *        Check value: link_crc8("123456789", 9) == 0xF4
 */
#ifndef LINK_PROTO_H
#define LINK_PROTO_H

#include <stdint.h>

#define LINK_SYNC0 0xAA
#define LINK_SYNC1 0x55
#define LINK_BAUD  115200

#define CMD_TYPE 0x01
#define CMD_LEN  10

#define STATUS_TYPE 0x81
#define STATUS_LEN  13

/* command flags */
#define CMD_FLAG_LEFT          (1u << 0)
#define CMD_FLAG_RIGHT         (1u << 1)
#define CMD_FLAG_TEST          (1u << 2)
#define CMD_FLAG_RESERVED_MASK 0xF8u

/* status state */
#define ST_STATE_ERROR  0
#define ST_STATE_NORMAL 1

/* status fault bits */
#define ST_FAULT_LINK     (1u << 0)
#define ST_FAULT_SELFTEST (1u << 1)
#define ST_FAULT_BADCMD   (1u << 2)
#define ST_FAULT_POWERUP  (1u << 3)
#define ST_FAULT_RESERVED_MASK 0xF0u

static inline uint8_t link_crc8(const uint8_t *data, int len)
{
    uint8_t crc = 0x00;
    for (int i = 0; i < len; i++) {
        crc ^= data[i];
        for (int b = 0; b < 8; b++)
            crc = (crc & 0x80) ? (uint8_t)((crc << 1) ^ 0x07) : (uint8_t)(crc << 1);
    }
    return crc;
}

#endif /* LINK_PROTO_H */
```
